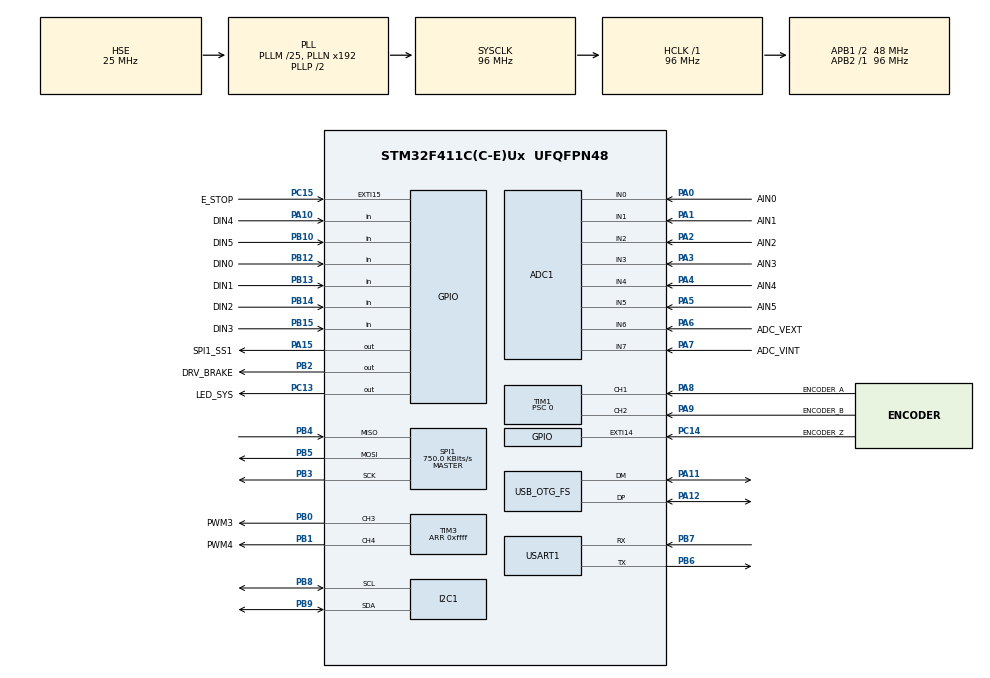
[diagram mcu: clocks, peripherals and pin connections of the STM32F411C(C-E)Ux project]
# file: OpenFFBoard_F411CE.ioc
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ADC1.Channel-0\#ChannelRegularConversion=ADC_CHANNEL_0
ADC1.Channel-1\#ChannelRegularConversion=ADC_CHANNEL_1
ADC1.Channel-2\#ChannelRegularConversion=ADC_CHANNEL_2
ADC1.Channel-3\#ChannelRegularConversion=ADC_CHANNEL_3
ADC1.Channel-4\#ChannelRegularConversion=ADC_CHANNEL_4
ADC1.Channel-5\#ChannelRegularConversion=ADC_CHANNEL_5
ADC1.Channel-6\#ChannelRegularConversion=ADC_CHANNEL_6
ADC1.Channel-7\#ChannelRegularConversion=ADC_CHANNEL_7
ADC1.ContinuousConvMode=ENABLE
ADC1.DMAContinuousRequests=ENABLE
ADC1.NbrOfConversion=8
ADC1.NbrOfConversionFlag=1
ADC1.Rank-0\#ChannelRegularConversion=1
ADC1.Rank-1\#ChannelRegularConversion=2
ADC1.Rank-2\#ChannelRegularConversion=3
ADC1.Rank-3\#ChannelRegularConversion=4
ADC1.Rank-4\#ChannelRegularConversion=5
ADC1.Rank-5\#ChannelRegularConversion=6
ADC1.Rank-6\#ChannelRegularConversion=7
ADC1.Rank-7\#ChannelRegularConversion=8
ADC1.SamplingTime-0\#ChannelRegularConversion=ADC_SAMPLETIME_144CYCLES
ADC1.SamplingTime-1\#ChannelRegularConversion=ADC_SAMPLETIME_144CYCLES
ADC1.SamplingTime-2\#ChannelRegularConversion=ADC_SAMPLETIME_144CYCLES
ADC1.SamplingTime-3\#ChannelRegularConversion=ADC_SAMPLETIME_144CYCLES
ADC1.SamplingTime-4\#ChannelRegularConversion=ADC_SAMPLETIME_144CYCLES
ADC1.SamplingTime-5\#ChannelRegularConversion=ADC_SAMPLETIME_144CYCLES
ADC1.SamplingTime-6\#ChannelRegularConversion=ADC_SAMPLETIME_144CYCLES
ADC1.SamplingTime-7\#ChannelRegularConversion=ADC_SAMPLETIME_144CYCLES
ADC1.ScanConvMode=ENABLE
ADC1.master=1
Dma.ADC1.0.Direction=DMA_PERIPH_TO_MEMORY
Dma.ADC1.0.FIFOMode=DMA_FIFOMODE_DISABLE
Dma.ADC1.0.Instance=DMA2_Stream0
Dma.ADC1.0.MemDataAlignment=DMA_MDATAALIGN_WORD
Dma.ADC1.0.MemInc=DMA_MINC_ENABLE
Dma.ADC1.0.Mode=DMA_CIRCULAR
Dma.ADC1.0.PeriphDataAlignment=DMA_PDATAALIGN_WORD
Dma.ADC1.0.PeriphInc=DMA_PINC_DISABLE
Dma.ADC1.0.Priority=DMA_PRIORITY_MEDIUM
Dma.Request0=ADC1
Dma.Request1=SPI1_TX
Dma.Request2=SPI1_RX
Dma.SPI1_RX.2.Direction=DMA_PERIPH_TO_MEMORY
Dma.SPI1_RX.2.FIFOMode=DMA_FIFOMODE_DISABLE
Dma.SPI1_RX.2.Instance=DMA2_Stream2
Dma.SPI1_RX.2.MemDataAlignment=DMA_MDATAALIGN_BYTE
Dma.SPI1_RX.2.MemInc=DMA_MINC_ENABLE
Dma.SPI1_RX.2.Mode=DMA_NORMAL
Dma.SPI1_RX.2.PeriphDataAlignment=DMA_PDATAALIGN_BYTE
Dma.SPI1_RX.2.PeriphInc=DMA_PINC_DISABLE
Dma.SPI1_RX.2.Priority=DMA_PRIORITY_HIGH
Dma.SPI1_TX.1.Direction=DMA_MEMORY_TO_PERIPH
Dma.SPI1_TX.1.FIFOMode=DMA_FIFOMODE_DISABLE
Dma.SPI1_TX.1.Instance=DMA2_Stream3
Dma.SPI1_TX.1.MemDataAlignment=DMA_MDATAALIGN_BYTE
Dma.SPI1_TX.1.MemInc=DMA_MINC_ENABLE
Dma.SPI1_TX.1.Mode=DMA_NORMAL
Dma.SPI1_TX.1.PeriphDataAlignment=DMA_PDATAALIGN_BYTE
Dma.SPI1_TX.1.PeriphInc=DMA_PINC_DISABLE
Dma.SPI1_TX.1.Priority=DMA_PRIORITY_HIGH
FREERTOS.Tasks01=defaultTask,16,1024,StartDefaultTask,As weak,NULL,Dynamic,NULL,NULL
FREERTOS.configCHECK_FOR_STACK_OVERFLOW=2
FREERTOS.configENABLE_FPU=1
FREERTOS.configRECORD_STACK_HIGH_ADDRESS=1
FREERTOS.configTOTAL_HEAP_SIZE=0xffff
FREERTOS.configUSE_NEWLIB_REENTRANT=1
IWDG.Prescaler=IWDG_PRESCALER_16
Mcu.Family=STM32F4
Mcu.Name=STM32F411C(C-E)Ux
Mcu.Package=UFQFPN48
NVIC.DMA2_Stream0_IRQn=true\:5\:0\:false\:true\:true\:2\:true\:false\:true\:true
NVIC.DMA2_Stream2_IRQn=true\:5\:0\:false\:false\:true\:true\:false\:true\:true
NVIC.DMA2_Stream3_IRQn=true\:5\:0\:false\:false\:true\:false\:false\:true\:true
NVIC.EXTI15_10_IRQn=true\:5\:0\:false\:true\:true\:7\:true\:true\:true\:true
NVIC.I2C1_ER_IRQn=true\:10\:0\:true\:false\:true\:true\:true\:true\:true
NVIC.I2C1_EV_IRQn=true\:10\:0\:true\:false\:true\:true\:true\:true\:true
NVIC.OTG_FS_IRQn=true\:14\:0\:true\:false\:true\:true\:true\:false\:true
NVIC.PriorityGroup=NVIC_PRIORITYGROUP_4
NVIC.TIM1_BRK_TIM9_IRQn=true\:6\:0\:true\:false\:true\:true\:true\:true\:true
NVIC.TIM1_TRG_COM_TIM11_IRQn=true\:0\:0\:true\:false\:true\:false\:false\:true\:true
NVIC.TIM1_UP_TIM10_IRQn=true\:5\:0\:false\:false\:true\:true\:true\:true\:true
NVIC.TIM2_IRQn=true\:7\:0\:true\:true\:true\:4\:true\:true\:true\:true
NVIC.TIM3_IRQn=true\:6\:0\:true\:true\:true\:5\:true\:true\:true\:true
NVIC.TIM4_IRQn=true\:6\:0\:true\:true\:true\:3\:true\:true\:true\:true
NVIC.TIM5_IRQn=true\:9\:0\:true\:true\:true\:6\:true\:true\:true\:true
NVIC.TimeBase=TIM1_TRG_COM_TIM11_IRQn
NVIC.TimeBaseIP=TIM11
NVIC.USART1_IRQn=true\:6\:0\:true\:true\:true\:1\:true\:true\:true\:true
PA0-WKUP.GPIO_Label=AIN0
PA0-WKUP.Signal=ADCx_IN0
PA1.GPIO_Label=AIN1
PA1.Signal=ADCx_IN1
PA10.GPIO_Label=DIN4
PA10.Signal=GPIO_Input
PA11.Mode=Device_Only
PA11.Signal=USB_OTG_FS_DM
PA12.Mode=Device_Only
PA12.Signal=USB_OTG_FS_DP
PA13.Mode=Serial_Wire
PA13.Signal=SYS_JTMS-SWDIO
PA14.Mode=Serial_Wire
PA14.Signal=SYS_JTCK-SWCLK
PA15.GPIO_Label=SPI1_SS1
PA15.Signal=GPIO_Output
PA2.GPIO_Label=AIN2
PA2.Signal=ADCx_IN2
PA3.GPIO_Label=AIN3
PA3.Signal=ADCx_IN3
PA4.GPIO_Label=AIN4
PA4.Signal=ADCx_IN4
PA5.GPIO_Label=AIN5
PA5.Signal=ADCx_IN5
PA6.GPIO_Label=ADC_VEXT
PA6.Signal=ADCx_IN6
PA7.GPIO_Label=ADC_VINT
PA7.Signal=ADCx_IN7
PA8.GPIO_Label=ENCODER_A
PA8.GPIO_PuPd=GPIO_NOPULL
PA8.Signal=S_TIM1_CH1
PA9.GPIO_Label=ENCODER_B
PA9.GPIO_PuPd=GPIO_NOPULL
PA9.Signal=S_TIM1_CH2
PB0.GPIO_Label=PWM3
PB0.Signal=S_TIM3_CH3
PB1.GPIO_Label=PWM4
PB1.Signal=S_TIM3_CH4
PB10.GPIO_Label=DIN5
PB10.GPIO_PuPd=GPIO_NOPULL
PB10.Signal=GPIO_Input
PB12.GPIO_Label=DIN0
PB12.Signal=GPIO_Input
PB13.GPIO_Label=DIN1
PB13.Signal=GPIO_Input
PB14.GPIO_Label=DIN2
PB14.Signal=GPIO_Input
PB15.GPIO_Label=DIN3
PB15.Signal=GPIO_Input
PB2.GPIO_Label=DRV_BRAKE
PB2.Signal=GPIO_Output
PB3.Mode=Full_Duplex_Master
PB3.Signal=SPI1_SCK
PB4.Mode=Full_Duplex_Master
PB4.Signal=SPI1_MISO
PB5.Mode=Full_Duplex_Master
PB5.Signal=SPI1_MOSI
PB6.Mode=Asynchronous
PB6.Signal=USART1_TX
PB7.GPIO_PuPd=GPIO_NOPULL
PB7.Mode=Asynchronous
PB7.Signal=USART1_RX
PB8.GPIO_Pu=GPIO_PULLUP
PB8.Mode=I2C
PB8.Signal=I2C1_SCL
PB9.GPIO_Pu=GPIO_PULLUP
PB9.Mode=I2C
PB9.Signal=I2C1_SDA
PC13-ANTI_TAMP.GPIO_Label=LED_SYS
PC13-ANTI_TAMP.Signal=GPIO_Output
PC14-OSC32_IN.GPIO_Label=ENCODER_Z
PC14-OSC32_IN.GPIO_PuPd=GPIO_PULLDOWN
PC14-OSC32_IN.Signal=GPXTI14
PC15-OSC32_OUT.GPIO_Label=E_STOP
PC15-OSC32_OUT.GPIO_ModeDefaultEXTI=GPIO_MODE_IT_FALLING
PC15-OSC32_OUT.GPIO_PuPd=GPIO_PULLUP
PC15-OSC32_OUT.Signal=GPXTI15
PH0\ -\ OSC_IN.Mode=HSE-External-Oscillator
PH0\ -\ OSC_IN.Signal=RCC_OSC_IN
PH1\ -\ OSC_OUT.Mode=HSE-External-Oscillator
PH1\ -\ OSC_OUT.Signal=RCC_OSC_OUT
ProjectManager.HeapSize=0x400
ProjectManager.StackSize=0x400
ProjectManager.TargetToolchain=STM32CubeIDE
RCC.48MHZClocksFreq_Value=48000000
RCC.AHBFreq_Value=96000000
RCC.APB1CLKDivider=RCC_HCLK_DIV2
RCC.APB1Freq_Value=48000000
RCC.APB1TimFreq_Value=96000000
RCC.APB2Freq_Value=96000000
RCC.APB2TimFreq_Value=96000000
RCC.CortexFreq_Value=96000000
RCC.HCLKFreq_Value=96000000
RCC.HSE_VALUE=25000000
RCC.HSI_VALUE=16000000
RCC.LSE_VALUE=32768
RCC.PLLM=25
RCC.SYSCLKFreq_VALUE=96000000
RCC.SYSCLKSource=RCC_SYSCLKSOURCE_PLLCLK
RCC.VCOOutputFreq_Value=192000000
SH.ADCx_IN0.0=ADC1_IN0,IN0
SH.ADCx_IN1.0=ADC1_IN1,IN1
SH.ADCx_IN2.0=ADC1_IN2,IN2
SH.ADCx_IN3.0=ADC1_IN3,IN3
SH.ADCx_IN4.0=ADC1_IN4,IN4
SH.ADCx_IN5.0=ADC1_IN5,IN5
SH.ADCx_IN6.0=ADC1_IN6,IN6
SH.ADCx_IN7.0=ADC1_IN7,IN7
SH.S_TIM1_CH1.0=TIM1_CH1,Encoder_Interface
SH.S_TIM1_CH2.0=TIM1_CH2,Encoder_Interface
SH.S_TIM3_CH3.0=TIM3_CH3,PWM Generation3 CH3
SH.S_TIM3_CH4.0=TIM3_CH4,PWM Generation4 CH4
SPI1.BaudRatePrescaler=SPI_BAUDRATEPRESCALER_128
SPI1.CalculateBaudRate=750.0 KBits/s
SPI1.Direction=SPI_DIRECTION_2LINES
SPI1.Mode=SPI_MODE_MASTER
SPI1.VirtualType=VM_MASTER
TIM1.CounterMode=TIM_COUNTERMODE_CENTERALIGNED1
TIM1.EncoderMode=TIM_ENCODERMODE_TI12
TIM1.IC1Filter=15
TIM1.IC2Filter=15
TIM1.Period=0xffff
TIM1.Prescaler=0
TIM10.Prescaler=96-1
TIM2.AutoReloadPreload=TIM_AUTORELOAD_PRELOAD_ENABLE
TIM2.Period=0xffff
TIM2.Prescaler=96-1
TIM3.AutoReloadPreload=TIM_AUTORELOAD_PRELOAD_ENABLE
TIM3.Channel-PWM\ Generation3\ CH3=TIM_CHANNEL_3
TIM3.Channel-PWM\ Generation4\ CH4=TIM_CHANNEL_4
TIM3.Period=0xffff
TIM4.Period=0xffff
TIM4.Prescaler=96-1
TIM5.Period=0xffffffff
TIM5.Prescaler=96-1
USART1.VirtualMode=VM_ASYNC
USB_OTG_FS.VirtualMode=Device_Only
VP_ADC1_TempSens_Input.Mode=IN-TempSens
VP_FREERTOS_VS_CMSIS_V2.Mode=CMSIS_V2
VP_IWDG_VS_IWDG.Mode=IWDG_Activate
VP_SYS_VS_tim11.Mode=TIM11
VP_TIM10_VS_ClockSourceINT.Mode=Enable_Timer
VP_TIM2_VS_ClockSourceINT.Mode=Internal
VP_TIM3_VS_ClockSourceINT.Mode=Internal
VP_TIM4_VS_ClockSourceINT.Mode=Internal
VP_TIM5_VS_ClockSourceINT.Mode=Internal
VP_TIM9_VS_ClockSourceINT.Mode=Internal
board=custom

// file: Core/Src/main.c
/* USER CODE BEGIN Header */
/**
  ******************************************************************************
  * @file           : main.c
  * @brief          : Main program body
  ******************************************************************************
  * @attention
  *
  * <h2><center>&copy; Copyright (c) 2020 STMicroelectronics.
  * All rights reserved.</center></h2>
  *
  * This software component is licensed by ST under BSD 3-Clause license,
  * the "License"; You may not use this file except in compliance with the
  * License. You may obtain a copy of the License at:
  *                        opensource.org/licenses/BSD-3-Clause
  *
  ******************************************************************************
  */
/* USER CODE END Header */
#include "main.h"
#include "cmsis_os.h"

/* USER CODE BEGIN Includes */
//#include <cppmain.h>
extern void cppmain();
#include "global_callbacks.h"
/* USER CODE END Includes */

ADC_HandleTypeDef hadc1;
DMA_HandleTypeDef hdma_adc1;

I2C_HandleTypeDef hi2c1;

IWDG_HandleTypeDef hiwdg;

SPI_HandleTypeDef hspi1;
DMA_HandleTypeDef hdma_spi1_tx;
DMA_HandleTypeDef hdma_spi1_rx;

TIM_HandleTypeDef htim1;
TIM_HandleTypeDef htim2;
TIM_HandleTypeDef htim3;
TIM_HandleTypeDef htim4;
TIM_HandleTypeDef htim5;
TIM_HandleTypeDef htim9;
TIM_HandleTypeDef htim10;

UART_HandleTypeDef huart1;

PCD_HandleTypeDef hpcd_USB_OTG_FS;

/* Definitions for defaultTask */
osThreadId_t defaultTaskHandle;
const osThreadAttr_t defaultTask_attributes = {
  .name = "defaultTask",
  .stack_size = 1024 * 4,
  .priority = (osPriority_t) osPriorityBelowNormal,
};

void SystemClock_Config(void);
static void MX_GPIO_Init(void);
static void MX_DMA_Init(void);
static void MX_ADC1_Init(void);
static void MX_IWDG_Init(void);
static void MX_TIM1_Init(void);
static void MX_TIM2_Init(void);
static void MX_TIM3_Init(void);
static void MX_TIM4_Init(void);
static void MX_TIM5_Init(void);
static void MX_TIM9_Init(void);
static void MX_TIM10_Init(void);
static void MX_I2C1_Init(void);
static void MX_SPI1_Init(void);
static void MX_USART1_UART_Init(void);
void StartDefaultTask(void *argument);

static void MX_NVIC_Init(void);
/* USER CODE BEGIN PFP */
uint32_t dfu_reset_to_bootloader_magic;
static void GPIO_Init_Unexposed(void);
/* USER CODE END PFP */

/* USER CODE BEGIN 0 */

// dummy main
__attribute__((weak)) void cppmain(){
	Error_Handler();
}

/* USER CODE END 0 */

int main(void)
{

  /* MCU Configuration--------------------------------------------------------*/

  /* Reset of all peripherals, Initializes the Flash interface and the Systick. */
  HAL_Init();

  /* Configure the system clock */
  SystemClock_Config();

  /* USER CODE BEGIN SysInit */
  GPIO_Init_Unexposed();
  /* USER CODE END SysInit */

  /* Initialize all configured peripherals */
  MX_GPIO_Init();
  MX_DMA_Init();
  MX_ADC1_Init();
  MX_IWDG_Init();
  MX_TIM1_Init();
  MX_TIM2_Init();
  MX_TIM3_Init();
  MX_TIM4_Init();
  MX_TIM5_Init();
  MX_TIM9_Init();
  MX_TIM10_Init();
  MX_I2C1_Init();
  MX_SPI1_Init();
  MX_USART1_UART_Init();

  /* Initialize interrupts */
  MX_NVIC_Init();
  /* USER CODE BEGIN 2 */
  MX_USB_OTG_FS_PCD_Init();
  //Test leds
  HAL_GPIO_WritePin(LED_SYS_GPIO_Port, LED_SYS_Pin, GPIO_PIN_SET);
  HAL_GPIO_WritePin(LED_CLIP_GPIO_Port, LED_CLIP_Pin, GPIO_PIN_SET);
  HAL_GPIO_WritePin(LED_ERR_GPIO_Port, LED_ERR_Pin, GPIO_PIN_SET);
  HAL_Delay(100);

  /* USER CODE END 2 */

  /* Init scheduler */
  osKernelInitialize();

  /* Create the thread(s) */
  /* creation of defaultTask */
  defaultTaskHandle = osThreadNew(StartDefaultTask, NULL, &defaultTask_attributes);

  /* Start scheduler */
  osKernelStart();

  /* We should never get here as control is now taken by the scheduler */
  /* Infinite loop */
  /* USER CODE BEGIN WHILE */

  while (1)
  {
	  cppmain();
    /* USER CODE END WHILE */

  }
}

void SystemClock_Config(void)
{
  RCC_OscInitTypeDef RCC_OscInitStruct = {0};
  RCC_ClkInitTypeDef RCC_ClkInitStruct = {0};

  /** Configure the main internal regulator output voltage
  */
  __HAL_RCC_PWR_CLK_ENABLE();
  __HAL_PWR_VOLTAGESCALING_CONFIG(PWR_REGULATOR_VOLTAGE_SCALE1);

  /** Initializes the RCC Oscillators according to the specified parameters
  * in the RCC_OscInitTypeDef structure.
  */
  RCC_OscInitStruct.OscillatorType = RCC_OSCILLATORTYPE_LSI|RCC_OSCILLATORTYPE_HSE;
  RCC_OscInitStruct.HSEState = RCC_HSE_ON;
  RCC_OscInitStruct.LSIState = RCC_LSI_ON;
  RCC_OscInitStruct.PLL.PLLState = RCC_PLL_ON;
  RCC_OscInitStruct.PLL.PLLSource = RCC_PLLSOURCE_HSE;
  RCC_OscInitStruct.PLL.PLLM = 25;
  RCC_OscInitStruct.PLL.PLLN = 192;
  RCC_OscInitStruct.PLL.PLLP = RCC_PLLP_DIV2;
  RCC_OscInitStruct.PLL.PLLQ = 4;
  if (HAL_RCC_OscConfig(&RCC_OscInitStruct) != HAL_OK)
  {
    Error_Handler();
  }

  /** Initializes the CPU, AHB and APB buses clocks
  */
  RCC_ClkInitStruct.ClockType = RCC_CLOCKTYPE_HCLK|RCC_CLOCKTYPE_SYSCLK
                              |RCC_CLOCKTYPE_PCLK1|RCC_CLOCKTYPE_PCLK2;
  RCC_ClkInitStruct.SYSCLKSource = RCC_SYSCLKSOURCE_PLLCLK;
  RCC_ClkInitStruct.AHBCLKDivider = RCC_SYSCLK_DIV1;
  RCC_ClkInitStruct.APB1CLKDivider = RCC_HCLK_DIV2;
  RCC_ClkInitStruct.APB2CLKDivider = RCC_HCLK_DIV1;

  if (HAL_RCC_ClockConfig(&RCC_ClkInitStruct, FLASH_LATENCY_3) != HAL_OK)
  {
    Error_Handler();
  }
}

/**
  * @brief NVIC Configuration.
  * @retval None
  */
static void MX_NVIC_Init(void)
{
  /* USART1_IRQn interrupt configuration */
  HAL_NVIC_SetPriority(USART1_IRQn, 6, 0);
  HAL_NVIC_EnableIRQ(USART1_IRQn);
  /* DMA2_Stream0_IRQn interrupt configuration */
  HAL_NVIC_SetPriority(DMA2_Stream0_IRQn, 5, 0);
  HAL_NVIC_EnableIRQ(DMA2_Stream0_IRQn);
  /* TIM4_IRQn interrupt configuration */
  HAL_NVIC_SetPriority(TIM4_IRQn, 6, 0);
  HAL_NVIC_EnableIRQ(TIM4_IRQn);
  /* TIM2_IRQn interrupt configuration */
  HAL_NVIC_SetPriority(TIM2_IRQn, 7, 0);
  HAL_NVIC_EnableIRQ(TIM2_IRQn);
  /* TIM3_IRQn interrupt configuration */
  HAL_NVIC_SetPriority(TIM3_IRQn, 6, 0);
  HAL_NVIC_EnableIRQ(TIM3_IRQn);
  /* TIM5_IRQn interrupt configuration */
  HAL_NVIC_SetPriority(TIM5_IRQn, 9, 0);
  HAL_NVIC_EnableIRQ(TIM5_IRQn);
  /* EXTI15_10_IRQn interrupt configuration */
  HAL_NVIC_SetPriority(EXTI15_10_IRQn, 5, 0);
  HAL_NVIC_EnableIRQ(EXTI15_10_IRQn);
}

static void MX_ADC1_Init(void)
{

  ADC_ChannelConfTypeDef sConfig = {0};

  /** Configure the global features of the ADC (Clock, Resolution, Data Alignment and number of conversion)
  */
  hadc1.Instance = ADC1;
  hadc1.Init.ClockPrescaler = ADC_CLOCK_SYNC_PCLK_DIV4;
  hadc1.Init.Resolution = ADC_RESOLUTION_12B;
  hadc1.Init.ScanConvMode = ENABLE;
  hadc1.Init.ContinuousConvMode = ENABLE;
  hadc1.Init.DiscontinuousConvMode = DISABLE;
  hadc1.Init.ExternalTrigConvEdge = ADC_EXTERNALTRIGCONVEDGE_NONE;
  hadc1.Init.ExternalTrigConv = ADC_SOFTWARE_START;
  hadc1.Init.DataAlign = ADC_DATAALIGN_RIGHT;
  hadc1.Init.NbrOfConversion = 8;
  hadc1.Init.DMAContinuousRequests = ENABLE;
  hadc1.Init.EOCSelection = ADC_EOC_SINGLE_CONV;
  if (HAL_ADC_Init(&hadc1) != HAL_OK)
  {
    Error_Handler();
  }

  /** Configure for the selected ADC regular channel its corresponding rank in the sequencer and its sample time.
  */
  sConfig.Channel = ADC_CHANNEL_0;
  sConfig.Rank = 1;
  sConfig.SamplingTime = ADC_SAMPLETIME_144CYCLES;
  if (HAL_ADC_ConfigChannel(&hadc1, &sConfig) != HAL_OK)
  {
    Error_Handler();
  }

  /** Configure for the selected ADC regular channel its corresponding rank in the sequencer and its sample time.
  */
  sConfig.Channel = ADC_CHANNEL_1;
  sConfig.Rank = 2;
  if (HAL_ADC_ConfigChannel(&hadc1, &sConfig) != HAL_OK)
  {
    Error_Handler();
  }

  /** Configure for the selected ADC regular channel its corresponding rank in the sequencer and its sample time.
  */
  sConfig.Channel = ADC_CHANNEL_2;
  sConfig.Rank = 3;
  if (HAL_ADC_ConfigChannel(&hadc1, &sConfig) != HAL_OK)
  {
    Error_Handler();
  }

  /** Configure for the selected ADC regular channel its corresponding rank in the sequencer and its sample time.
  */
  sConfig.Channel = ADC_CHANNEL_3;
  sConfig.Rank = 4;
  if (HAL_ADC_ConfigChannel(&hadc1, &sConfig) != HAL_OK)
  {
    Error_Handler();
  }

  /** Configure for the selected ADC regular channel its corresponding rank in the sequencer and its sample time.
  */
  sConfig.Channel = ADC_CHANNEL_4;
  sConfig.Rank = 5;
  if (HAL_ADC_ConfigChannel(&hadc1, &sConfig) != HAL_OK)
  {
    Error_Handler();
  }

  /** Configure for the selected ADC regular channel its corresponding rank in the sequencer and its sample time.
  */
  sConfig.Channel = ADC_CHANNEL_5;
  sConfig.Rank = 6;
  if (HAL_ADC_ConfigChannel(&hadc1, &sConfig) != HAL_OK)
  {
    Error_Handler();
  }

  /** Configure for the selected ADC regular channel its corresponding rank in the sequencer and its sample time.
  */
  sConfig.Channel = ADC_CHANNEL_6;
  sConfig.Rank = 7;
  if (HAL_ADC_ConfigChannel(&hadc1, &sConfig) != HAL_OK)
  {
    Error_Handler();
  }

  /** Configure for the selected ADC regular channel its corresponding rank in the sequencer and its sample time.
  */
  sConfig.Channel = ADC_CHANNEL_7;
  sConfig.Rank = 8;
  if (HAL_ADC_ConfigChannel(&hadc1, &sConfig) != HAL_OK)
  {
    Error_Handler();
  }

}

static void MX_I2C1_Init(void)
{

  hi2c1.Instance = I2C1;
  hi2c1.Init.ClockSpeed = 100000;
  hi2c1.Init.DutyCycle = I2C_DUTYCYCLE_2;
  hi2c1.Init.OwnAddress1 = 0;
  hi2c1.Init.AddressingMode = I2C_ADDRESSINGMODE_7BIT;
  hi2c1.Init.DualAddressMode = I2C_DUALADDRESS_DISABLE;
  hi2c1.Init.OwnAddress2 = 0;
  hi2c1.Init.GeneralCallMode = I2C_GENERALCALL_DISABLE;
  hi2c1.Init.NoStretchMode = I2C_NOSTRETCH_DISABLE;
  if (HAL_I2C_Init(&hi2c1) != HAL_OK)
  {
    Error_Handler();
  }

}

static void MX_IWDG_Init(void)
{

  hiwdg.Instance = IWDG;
  hiwdg.Init.Prescaler = IWDG_PRESCALER_16;
  hiwdg.Init.Reload = 4095;
  if (HAL_IWDG_Init(&hiwdg) != HAL_OK)
  {
    Error_Handler();
  }

}

static void MX_SPI1_Init(void)
{

  /* SPI1 parameter configuration*/
  hspi1.Instance = SPI1;
  hspi1.Init.Mode = SPI_MODE_MASTER;
  hspi1.Init.Direction = SPI_DIRECTION_2LINES;
  hspi1.Init.DataSize = SPI_DATASIZE_8BIT;
  hspi1.Init.CLKPolarity = SPI_POLARITY_LOW;
  hspi1.Init.CLKPhase = SPI_PHASE_1EDGE;
  hspi1.Init.NSS = SPI_NSS_SOFT;
  hspi1.Init.BaudRatePrescaler = SPI_BAUDRATEPRESCALER_128;
  hspi1.Init.FirstBit = SPI_FIRSTBIT_MSB;
  hspi1.Init.TIMode = SPI_TIMODE_DISABLE;
  hspi1.Init.CRCCalculation = SPI_CRCCALCULATION_DISABLE;
  hspi1.Init.CRCPolynomial = 10;
  if (HAL_SPI_Init(&hspi1) != HAL_OK)
  {
    Error_Handler();
  }

}

static void MX_TIM1_Init(void)
{

  TIM_Encoder_InitTypeDef sConfig = {0};
  TIM_MasterConfigTypeDef sMasterConfig = {0};

  htim1.Instance = TIM1;
  htim1.Init.Prescaler = 0;
  htim1.Init.CounterMode = TIM_COUNTERMODE_CENTERALIGNED1;
  htim1.Init.Period = 0xffff;
  htim1.Init.ClockDivision = TIM_CLOCKDIVISION_DIV1;
  htim1.Init.RepetitionCounter = 0;
  htim1.Init.AutoReloadPreload = TIM_AUTORELOAD_PRELOAD_DISABLE;
  sConfig.EncoderMode = TIM_ENCODERMODE_TI12;
  sConfig.IC1Polarity = TIM_ICPOLARITY_RISING;
  sConfig.IC1Selection = TIM_ICSELECTION_DIRECTTI;
  sConfig.IC1Prescaler = TIM_ICPSC_DIV1;
  sConfig.IC1Filter = 15;
  sConfig.IC2Polarity = TIM_ICPOLARITY_RISING;
  sConfig.IC2Selection = TIM_ICSELECTION_DIRECTTI;
  sConfig.IC2Prescaler = TIM_ICPSC_DIV1;
  sConfig.IC2Filter = 15;
  if (HAL_TIM_Encoder_Init(&htim1, &sConfig) != HAL_OK)
  {
    Error_Handler();
  }
  sMasterConfig.MasterOutputTrigger = TIM_TRGO_RESET;
  sMasterConfig.MasterSlaveMode = TIM_MASTERSLAVEMODE_DISABLE;
  if (HAL_TIMEx_MasterConfigSynchronization(&htim1, &sMasterConfig) != HAL_OK)
  {
    Error_Handler();
  }

}

static void MX_TIM2_Init(void)
{

  TIM_ClockConfigTypeDef sClockSourceConfig = {0};
  TIM_MasterConfigTypeDef sMasterConfig = {0};

  htim2.Instance = TIM2;
  htim2.Init.Prescaler = 96-1;
  htim2.Init.CounterMode = TIM_COUNTERMODE_UP;
  htim2.Init.Period = 0xffff;
  htim2.Init.ClockDivision = TIM_CLOCKDIVISION_DIV1;
  htim2.Init.AutoReloadPreload = TIM_AUTORELOAD_PRELOAD_ENABLE;
  if (HAL_TIM_Base_Init(&htim2) != HAL_OK)
  {
    Error_Handler();
  }
  sClockSourceConfig.ClockSource = TIM_CLOCKSOURCE_INTERNAL;
  if (HAL_TIM_ConfigClockSource(&htim2, &sClockSourceConfig) != HAL_OK)
  {
    Error_Handler();
  }
  sMasterConfig.MasterOutputTrigger = TIM_TRGO_RESET;
  sMasterConfig.MasterSlaveMode = TIM_MASTERSLAVEMODE_DISABLE;
  if (HAL_TIMEx_MasterConfigSynchronization(&htim2, &sMasterConfig) != HAL_OK)
  {
    Error_Handler();
  }

}

static void MX_TIM3_Init(void)
{

  TIM_ClockConfigTypeDef sClockSourceConfig = {0};
  TIM_MasterConfigTypeDef sMasterConfig = {0};
  TIM_OC_InitTypeDef sConfigOC = {0};

  htim3.Instance = TIM3;
  htim3.Init.Prescaler = 0;
  htim3.Init.CounterMode = TIM_COUNTERMODE_UP;
  htim3.Init.Period = 0xffff;
  htim3.Init.ClockDivision = TIM_CLOCKDIVISION_DIV1;
  htim3.Init.AutoReloadPreload = TIM_AUTORELOAD_PRELOAD_ENABLE;
  if (HAL_TIM_Base_Init(&htim3) != HAL_OK)
  {
    Error_Handler();
  }
  sClockSourceConfig.ClockSource = TIM_CLOCKSOURCE_INTERNAL;
  if (HAL_TIM_ConfigClockSource(&htim3, &sClockSourceConfig) != HAL_OK)
  {
    Error_Handler();
  }
  if (HAL_TIM_PWM_Init(&htim3) != HAL_OK)
  {
    Error_Handler();
  }
  sMasterConfig.MasterOutputTrigger = TIM_TRGO_RESET;
  sMasterConfig.MasterSlaveMode = TIM_MASTERSLAVEMODE_DISABLE;
  if (HAL_TIMEx_MasterConfigSynchronization(&htim3, &sMasterConfig) != HAL_OK)
  {
    Error_Handler();
  }
  sConfigOC.OCMode = TIM_OCMODE_PWM1;
  sConfigOC.Pulse = 0;
  sConfigOC.OCPolarity = TIM_OCPOLARITY_HIGH;
  sConfigOC.OCFastMode = TIM_OCFAST_DISABLE;
  if (HAL_TIM_PWM_ConfigChannel(&htim3, &sConfigOC, TIM_CHANNEL_3) != HAL_OK)
  {
    Error_Handler();
  }
  if (HAL_TIM_PWM_ConfigChannel(&htim3, &sConfigOC, TIM_CHANNEL_4) != HAL_OK)
  {
    Error_Handler();
  }
  HAL_TIM_MspPostInit(&htim3);

}

static void MX_TIM4_Init(void)
{

  TIM_ClockConfigTypeDef sClockSourceConfig = {0};
  TIM_MasterConfigTypeDef sMasterConfig = {0};

  htim4.Instance = TIM4;
  htim4.Init.Prescaler = 96-1;
  htim4.Init.CounterMode = TIM_COUNTERMODE_UP;
  htim4.Init.Period = 0xffff;
  htim4.Init.ClockDivision = TIM_CLOCKDIVISION_DIV1;
  htim4.Init.AutoReloadPreload = TIM_AUTORELOAD_PRELOAD_DISABLE;
  if (HAL_TIM_Base_Init(&htim4) != HAL_OK)
  {
    Error_Handler();
  }
  sClockSourceConfig.ClockSource = TIM_CLOCKSOURCE_INTERNAL;
  if (HAL_TIM_ConfigClockSource(&htim4, &sClockSourceConfig) != HAL_OK)
  {
    Error_Handler();
  }
  sMasterConfig.MasterOutputTrigger = TIM_TRGO_RESET;
  sMasterConfig.MasterSlaveMode = TIM_MASTERSLAVEMODE_DISABLE;
  if (HAL_TIMEx_MasterConfigSynchronization(&htim4, &sMasterConfig) != HAL_OK)
  {
    Error_Handler();
  }

}

static void MX_TIM5_Init(void)
{

  TIM_ClockConfigTypeDef sClockSourceConfig = {0};
  TIM_MasterConfigTypeDef sMasterConfig = {0};

  htim5.Instance = TIM5;
  htim5.Init.Prescaler = 96-1;
  htim5.Init.CounterMode = TIM_COUNTERMODE_UP;
  htim5.Init.Period = 0xffffffff;
  htim5.Init.ClockDivision = TIM_CLOCKDIVISION_DIV1;
  htim5.Init.AutoReloadPreload = TIM_AUTORELOAD_PRELOAD_DISABLE;
  if (HAL_TIM_Base_Init(&htim5) != HAL_OK)
  {
    Error_Handler();
  }
  sClockSourceConfig.ClockSource = TIM_CLOCKSOURCE_INTERNAL;
  if (HAL_TIM_ConfigClockSource(&htim5, &sClockSourceConfig) != HAL_OK)
  {
    Error_Handler();
  }
  sMasterConfig.MasterOutputTrigger = TIM_TRGO_RESET;
  sMasterConfig.MasterSlaveMode = TIM_MASTERSLAVEMODE_DISABLE;
  if (HAL_TIMEx_MasterConfigSynchronization(&htim5, &sMasterConfig) != HAL_OK)
  {
    Error_Handler();
  }

}

static void MX_TIM9_Init(void)
{

  TIM_ClockConfigTypeDef sClockSourceConfig = {0};

  htim9.Instance = TIM9;
  htim9.Init.Prescaler = 0;
  htim9.Init.CounterMode = TIM_COUNTERMODE_UP;
  htim9.Init.Period = 65535;
  htim9.Init.ClockDivision = TIM_CLOCKDIVISION_DIV1;
  htim9.Init.AutoReloadPreload = TIM_AUTORELOAD_PRELOAD_DISABLE;
  if (HAL_TIM_Base_Init(&htim9) != HAL_OK)
  {
    Error_Handler();
  }
  sClockSourceConfig.ClockSource = TIM_CLOCKSOURCE_INTERNAL;
  if (HAL_TIM_ConfigClockSource(&htim9, &sClockSourceConfig) != HAL_OK)
  {
    Error_Handler();
  }

}

static void MX_TIM10_Init(void)
{

  htim10.Instance = TIM10;
  htim10.Init.Prescaler = 96-1;
  htim10.Init.CounterMode = TIM_COUNTERMODE_UP;
  htim10.Init.Period = 65535;
  htim10.Init.ClockDivision = TIM_CLOCKDIVISION_DIV1;
  htim10.Init.AutoReloadPreload = TIM_AUTORELOAD_PRELOAD_DISABLE;
  if (HAL_TIM_Base_Init(&htim10) != HAL_OK)
  {
    Error_Handler();
  }

}

static void MX_USART1_UART_Init(void)
{

  huart1.Instance = USART1;
  huart1.Init.BaudRate = 115200;
  huart1.Init.WordLength = UART_WORDLENGTH_8B;
  huart1.Init.StopBits = UART_STOPBITS_1;
  huart1.Init.Parity = UART_PARITY_NONE;
  huart1.Init.Mode = UART_MODE_TX_RX;
  huart1.Init.HwFlowCtl = UART_HWCONTROL_NONE;
  huart1.Init.OverSampling = UART_OVERSAMPLING_16;
  if (HAL_UART_Init(&huart1) != HAL_OK)
  {
    Error_Handler();
  }

}

void MX_USB_OTG_FS_PCD_Init(void)
{

  hpcd_USB_OTG_FS.Instance = USB_OTG_FS;
  hpcd_USB_OTG_FS.Init.dev_endpoints = 4;
  hpcd_USB_OTG_FS.Init.speed = PCD_SPEED_FULL;
  hpcd_USB_OTG_FS.Init.dma_enable = DISABLE;
  hpcd_USB_OTG_FS.Init.phy_itface = PCD_PHY_EMBEDDED;
  hpcd_USB_OTG_FS.Init.Sof_enable = DISABLE;
  hpcd_USB_OTG_FS.Init.low_power_enable = DISABLE;
  hpcd_USB_OTG_FS.Init.lpm_enable = DISABLE;
  hpcd_USB_OTG_FS.Init.vbus_sensing_enable = DISABLE;
  hpcd_USB_OTG_FS.Init.use_dedicated_ep1 = DISABLE;
  if (HAL_PCD_Init(&hpcd_USB_OTG_FS) != HAL_OK)
  {
    Error_Handler();
  }

}

static void MX_DMA_Init(void)
{

  /* DMA controller clock enable */
  __HAL_RCC_DMA2_CLK_ENABLE();

  /* DMA interrupt init */
  /* DMA2_Stream2_IRQn interrupt configuration */
  HAL_NVIC_SetPriority(DMA2_Stream2_IRQn, 5, 0);
  HAL_NVIC_EnableIRQ(DMA2_Stream2_IRQn);
  /* DMA2_Stream3_IRQn interrupt configuration */
  HAL_NVIC_SetPriority(DMA2_Stream3_IRQn, 5, 0);
  HAL_NVIC_EnableIRQ(DMA2_Stream3_IRQn);

}

static void MX_GPIO_Init(void)
{
  GPIO_InitTypeDef GPIO_InitStruct = {0};

  /* GPIO Ports Clock Enable */
  __HAL_RCC_GPIOC_CLK_ENABLE();
  __HAL_RCC_GPIOH_CLK_ENABLE();
  __HAL_RCC_GPIOA_CLK_ENABLE();
  __HAL_RCC_GPIOB_CLK_ENABLE();

  /*Configure GPIO pin Output Level */
  HAL_GPIO_WritePin(LED_SYS_GPIO_Port, LED_SYS_Pin, GPIO_PIN_RESET);

  /*Configure GPIO pin Output Level */
  HAL_GPIO_WritePin(DRV_BRAKE_GPIO_Port, DRV_BRAKE_Pin, GPIO_PIN_RESET);

  /*Configure GPIO pin Output Level */
  HAL_GPIO_WritePin(SPI1_SS1_GPIO_Port, SPI1_SS1_Pin, GPIO_PIN_RESET);

  /*Configure GPIO pin : LED_SYS_Pin */
  GPIO_InitStruct.Pin = LED_SYS_Pin;
  GPIO_InitStruct.Mode = GPIO_MODE_OUTPUT_PP;
  GPIO_InitStruct.Pull = GPIO_NOPULL;
  GPIO_InitStruct.Speed = GPIO_SPEED_FREQ_LOW;
  HAL_GPIO_Init(LED_SYS_GPIO_Port, &GPIO_InitStruct);

  /*Configure GPIO pin : ENCODER_Z_Pin */
  GPIO_InitStruct.Pin = ENCODER_Z_Pin;
  GPIO_InitStruct.Mode = GPIO_MODE_IT_RISING;
  GPIO_InitStruct.Pull = GPIO_PULLDOWN;
  HAL_GPIO_Init(ENCODER_Z_GPIO_Port, &GPIO_InitStruct);

  /*Configure GPIO pin : E_STOP_Pin */
  GPIO_InitStruct.Pin = E_STOP_Pin;
  GPIO_InitStruct.Mode = GPIO_MODE_IT_FALLING;
  GPIO_InitStruct.Pull = GPIO_PULLUP;
  HAL_GPIO_Init(E_STOP_GPIO_Port, &GPIO_InitStruct);

  /*Configure GPIO pin : DRV_BRAKE_Pin */
  GPIO_InitStruct.Pin = DRV_BRAKE_Pin;
  GPIO_InitStruct.Mode = GPIO_MODE_OUTPUT_PP;
  GPIO_InitStruct.Pull = GPIO_NOPULL;
  GPIO_InitStruct.Speed = GPIO_SPEED_FREQ_LOW;
  HAL_GPIO_Init(DRV_BRAKE_GPIO_Port, &GPIO_InitStruct);

  /*Configure GPIO pins : DIN5_Pin DIN0_Pin DIN1_Pin DIN2_Pin
                           DIN3_Pin */
  GPIO_InitStruct.Pin = DIN5_Pin|DIN0_Pin|DIN1_Pin|DIN2_Pin
                          |DIN3_Pin;
  GPIO_InitStruct.Mode = GPIO_MODE_INPUT;
  GPIO_InitStruct.Pull = GPIO_NOPULL;
  HAL_GPIO_Init(GPIOB, &GPIO_InitStruct);

  /*Configure GPIO pin : DIN4_Pin */
  GPIO_InitStruct.Pin = DIN4_Pin;
  GPIO_InitStruct.Mode = GPIO_MODE_INPUT;
  GPIO_InitStruct.Pull = GPIO_NOPULL;
  HAL_GPIO_Init(DIN4_GPIO_Port, &GPIO_InitStruct);

  /*Configure GPIO pin : SPI1_SS1_Pin */
  GPIO_InitStruct.Pin = SPI1_SS1_Pin;
  GPIO_InitStruct.Mode = GPIO_MODE_OUTPUT_PP;
  GPIO_InitStruct.Pull = GPIO_NOPULL;
  GPIO_InitStruct.Speed = GPIO_SPEED_FREQ_LOW;
  HAL_GPIO_Init(SPI1_SS1_GPIO_Port, &GPIO_InitStruct);

}

/* USER CODE BEGIN 4 */
void RebootDFU(void) {
	*((unsigned long *)0x2001FFF0) = 0xDEADBEEF; // End of RAM
	NVIC_SystemReset();
}

// Init Dummy pins from main.h
static void GPIO_Init_Unexposed(void)
{
  GPIO_InitTypeDef GPIO_InitStruct = {0};

  // Enabling GPOPE port that should still be located on die
  // We are using 48 pin package and GPIOE pins are not exposed.
  // Reeading inputs, writing outputs and pullups should all work.
  __HAL_RCC_GPIOE_CLK_ENABLE();

  GPIO_InitStruct.Pin = GPIO_UNEXPOSED_OUTPUT_Pin;
  GPIO_InitStruct.Mode = GPIO_MODE_OUTPUT_PP;
  GPIO_InitStruct.Pull = GPIO_NOPULL;
  GPIO_InitStruct.Speed = GPIO_SPEED_FREQ_LOW;
  HAL_GPIO_Init(GPIO_UNEXPOSED_OUTPUT_GPIO_PORT, &GPIO_InitStruct);

  /*Configure GPIO pin : E_STOP_Pin */
  GPIO_InitStruct.Pin = GPIO_UNEXPOSED_INPUT_LOW_Pin;
  GPIO_InitStruct.Mode = GPIO_MODE_INPUT;
  GPIO_InitStruct.Pull = GPIO_PULLDOWN;
  HAL_GPIO_Init(GPIO_UNEXPOSED_INPUT_LOW_GPIO_PORT, &GPIO_InitStruct);

  /*Configure GPIO pin : ENCODER_Z_Pin */
  GPIO_InitStruct.Pin = GPIO_UNEXPOSED_INPUT_HIGH_Pin;
  GPIO_InitStruct.Mode = GPIO_MODE_INPUT;
  GPIO_InitStruct.Pull = GPIO_PULLUP;
  HAL_GPIO_Init(GPIO_UNEXPOSED_INPUT_HIGH_GPIO_PORT, &GPIO_InitStruct);

}
/* USER CODE END 4 */

__weak void StartDefaultTask(void *argument)
{
  /* USER CODE BEGIN 5 */
	HAL_GPIO_WritePin(LED_ERR_GPIO_Port, LED_ERR_Pin, GPIO_PIN_RESET);
	HAL_GPIO_WritePin(LED_CLIP_GPIO_Port, LED_CLIP_Pin, GPIO_PIN_RESET);
	HAL_GPIO_WritePin(LED_SYS_GPIO_Port, LED_SYS_Pin, GPIO_PIN_RESET);
  /* Infinite loop */
  for(;;)
  {
	cppmain();
    osDelay(1);
  }
  /* USER CODE END 5 */
}

void HAL_TIM_PeriodElapsedCallback(TIM_HandleTypeDef *htim)
{
  if (htim->Instance == TIM11) {
    HAL_IncTick();
  }
  /* USER CODE BEGIN Callback 1 */
  else{
	  HAL_TIM_PeriodElapsedCallback_CPP(htim);
  }
  /* USER CODE END Callback 1 */
}

void Error_Handler(void)
{
  /* USER CODE BEGIN Error_Handler_Debug */

	// Blink Error led quickly
	for(uint8_t i = 0; i< 5; i++){
		HAL_GPIO_WritePin(LED_ERR_GPIO_Port, LED_ERR_Pin, GPIO_PIN_SET);
		osDelay(50);
		HAL_GPIO_WritePin(LED_ERR_GPIO_Port, LED_ERR_Pin, GPIO_PIN_RESET);
		osDelay(50);
	}
  /* User can add his own implementation to report the HAL error return state */

  /* USER CODE END Error_Handler_Debug */
}

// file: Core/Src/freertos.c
/* USER CODE BEGIN Header */
/**
  ******************************************************************************
  * File Name          : freertos.c
  * Description        : Code for freertos applications
  ******************************************************************************
  * @attention
  *
  * <h2><center>&copy; Copyright (c) 2021 STMicroelectronics.
  * All rights reserved.</center></h2>
  *
  * This software component is licensed by ST under Ultimate Liberty license
  * SLA0044, the "License"; You may not use this file except in compliance with
  * the License. You may obtain a copy of the License at:
  *                             www.st.com/SLA0044
  *
  ******************************************************************************
  */
/* USER CODE END Header */

#include "FreeRTOS.h"
#include "task.h"
#include "main.h"

/* Hook prototypes */
void vApplicationStackOverflowHook(xTaskHandle xTask, signed char *pcTaskName);

/* USER CODE BEGIN 4 */
void vApplicationStackOverflowHook(xTaskHandle xTask, signed char *pcTaskName)
{
   /* Run time stack overflow checking is performed if
   configCHECK_FOR_STACK_OVERFLOW is defined to 1 or 2. This hook function is
   called if a stack overflow is detected. */
}
/* USER CODE END 4 */
